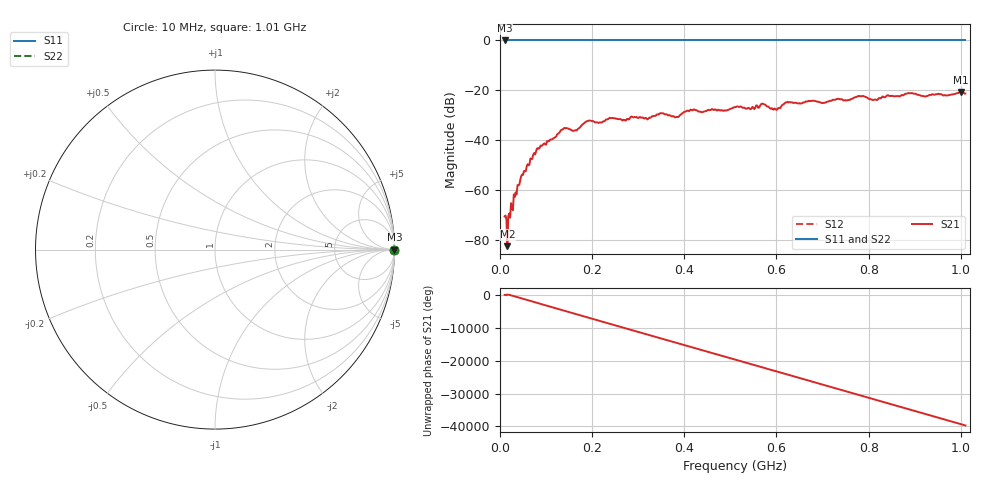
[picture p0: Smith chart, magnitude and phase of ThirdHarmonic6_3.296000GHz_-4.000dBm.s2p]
! 8/17/2025 10:15:43 AM
! C:\ANRITSUVNA\TEMP\TEMP.S2P
! CHANNEL.1
! TR.MEASUREMENT
! RAW.DATA
! RF.CORRECTION.OFF
! AVERAGING.OFF
! IF.BANDWIDTH: 5KHZ
! SWEEPTYPE:  FREQ.SWEEP(Linear)
! Reference Plane Port Info
! PORT:  PORT1  PORT2
! DISTANCE:  0  m  0  m
! TIME:  0  s  0  s
! PHASE.OFFSET:  0  deg.  0  deg.
! LOSS:  0  dB  0  dB
! REF.LOSS:  0  dB  0  dB
! REF.FREQ:  0  Hz  0  Hz
! Power Info
! POWER:  -20  dBm  -20  dBm
! EFF.POWER:  -20  dBm  -20  dBm
! SOURCE.ATTEN:  0  dB  0  dB
! TEST.ATTEN:  0  dB  0  dB
# GHZ S RI R 50.0
! FREQ.GHZ  S11RE  S11IM  S21RE  S21IM  S12RE  S12IM  S22RE  S22IM
!; PortSelection: Port_12
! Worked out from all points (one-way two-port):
!   501 points, 10 MHz to 1.01 GHz, reference 50 ohm
!   highest |S21| = -20.64 dB at 1 GHz (marker M1); lowest = -82.5 dB at 16 MHz (marker M2)
!   lowest |S11| = 0.0 dB at 10 MHz (marker M3)
!   |S11| at or under -10 dB: nowhere
!   |S22| runs from 0.0 to 0.0 dB; largest |S21 - S12| = 1.1
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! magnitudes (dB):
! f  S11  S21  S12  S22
! 10 MHz  0.0  -70.6  0.0  0.0
! 12 MHz  0.0  -70.2  0.0  0.0
! 16 MHz  0.0  -82.5  0.0  0.0
! 18 MHz  0.0  -70.5  0.0  0.0
! 48 MHz  0.0  -53.8  0.0  0.0
! 78 MHz  0.0  -44.7  0.0  0.0
! 136 MHz  0.0  -35.7  0.0  0.0
! 162 MHz  0.0  -36.1  0.0  0.0
! 178 MHz  0.0  -33.8  0.0  0.0
! 192 MHz  0.0  -32.2  0.0  0.0
! 318 MHz  0.0  -31.3  0.0  0.0
! 344 MHz  0.0  -29.7  0.0  0.0
! 384 MHz  0.0  -30.6  0.0  0.0
! 418 MHz  0.0  -28.0  0.0  0.0
! 510 MHz  0.0  -26.7  0.0  0.0
! 570 MHz  0.0  -25.3  0.0  0.0
! 598 MHz  0.0  -27.5  0.0  0.0
! 622 MHz  0.0  -24.9  0.0  0.0
! 678 MHz  0.0  -24.1  0.0  0.0
! 844 MHz  0.0  -22.2  0.0  0.0
! 1 GHz  0.0  -20.6  0.0  0.0
! 1.01 GHz  0.0  -21.3  0.0  0.0
